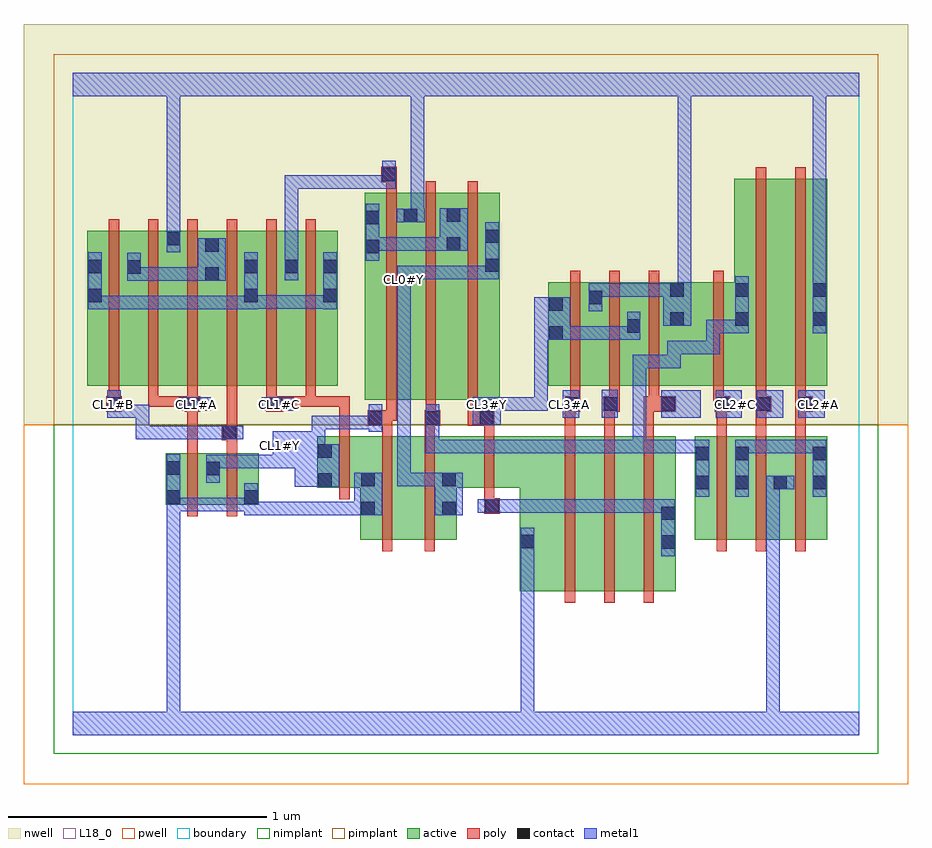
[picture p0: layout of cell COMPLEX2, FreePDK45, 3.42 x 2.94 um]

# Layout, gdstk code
import gdstk
lib = gdstk.Library(unit=1e-6, precision=1e-09)
def R(c, l, rs):  # rectangles x0, y0, x1, y1
    for r in rs: c.add(gdstk.rectangle(r[:2], r[2:], *l))
def A(c, l, x, y, w, h, nx, ny, dx, dy):  # array of equal rectangles
    R(c, l, [(x+i*dx, y+j*dy, x+i*dx+w, y+j*dy+h) for i in range(nx) for j in range(ny)])
active = (1, 0)
pwell = (2, 0)
nwell = (3, 0)
nimplant = (4, 0)
pimplant = (5, 0)
poly = (9, 0)
contact = (10, 0)
metal1 = (11, 0)
L18_0 = (18, 0)
boundary = (235, 0)

complex2 = lib.new_cell('COMPLEX2')
R(complex2, active, [(1.728,0.556,1.788,0.956), (1.728,0.556,1.998,1.156), (1.998,0.556,2.15,1.156), (2.15,0.556,2.33,1.156), (2.27,0.556,2.33,1.156), (1.112,0.756,1.172,1.156), (1.112,0.756,1.304,1.156), (1.304,0.756,1.484,1.156), (1.424,0.756,1.484,1.156), (2.404,0.756,2.464,1.156), (2.404,0.756,2.616,1.156), (2.556,0.756,2.616,1.156), (2.556,0.756,2.764,1.156), (2.704,0.756,2.916,1.156), (2.704,0.756,2.764,1.006), (2.856,0.756,2.916,1.156), (0.36,0.89,0.42,1.09), (0.36,0.89,0.572,1.09), (0.512,0.89,0.72,1.09), (0.66,0.89,0.72,1.09), (0.512,0.892,0.572,1.09), (0.946,0.956,1.172,1.156), (0.946,0.956,1.006,1.156), (1.424,0.956,1.788,1.156), (1.128,1.296,1.188,2.096), (1.128,1.296,1.336,2.096), (1.276,1.296,1.336,2.096), (1.276,1.296,1.502,2.096), (1.442,1.296,1.502,2.096), (1.442,1.296,1.65,2.096), (1.59,1.296,1.65,2.044), (0.056,1.35,0.116,1.95), (0.056,1.35,0.268,1.95), (0.208,1.35,0.268,1.95), (0.208,1.35,0.42,1.95), (0.36,1.35,0.568,1.95), (0.508,1.35,0.72,1.95), (0.66,1.35,0.72,1.95), (0.66,1.35,0.876,1.95), (0.816,1.35,1.024,1.95), (0.964,1.35,1.024,1.878), (1.838,1.35,1.898,1.75), (1.838,1.35,2.05,1.75), (1.99,1.35,2.198,1.75), (2.138,1.35,2.366,1.75), (2.306,1.35,2.616,1.75), (2.556,1.35,2.736,2.15), (2.556,1.35,2.616,2.15), (2.736,1.35,2.916,2.15), (2.856,1.35,2.916,2.044), (0.508,1.47,0.568,1.95), (2.138,1.498,2.198,1.75), (2.306,1.498,2.366,1.75), (0.816,1.522,0.876,1.878), (1.99,1.572,2.05,1.722), (0.36,1.58,0.42,1.95)])
R(complex2, pwell, [(-0.188,-0.188,3.228,1.2)])
R(complex2, nwell, [(-0.188,1.2,3.228,2.748)])
R(complex2, nimplant, [(-0.072,-0.072,3.112,1.2)])
R(complex2, pimplant, [(-0.072,1.2,3.112,2.632)])
A(complex2, poly, 1.902, 0.512, 0.04, 0.688, 3, 1, 0.152, 0)
A(complex2, poly, 2.488, 0.712, 0.04, 0.488, 3, 1, 0.152, 0)
A(complex2, poly, 1.902, 1.16, 0.04, 0.13, 3, 1, 0.152, 0)
A(complex2, poly, 2.488, 1.16, 0.04, 0.13, 3, 1, 0.152, 0)
A(complex2, poly, 0.14, 1.27, 0.04, 0.076, 3, 1, 0.152, 0)
A(complex2, poly, 1.922, 1.27, 0.04, 0.076, 3, 1, 0.152, 0)
A(complex2, poly, 0.14, 1.306, 0.04, 0.688, 6, 1, 0.152, 0)
A(complex2, poly, 1.922, 1.306, 0.04, 0.488, 3, 1, 0.152, 0)
R(complex2, poly, [(1.196,0.712,1.236,1.2), (1.36,0.712,1.4,1.2), (0.444,0.846,0.484,1.134), (0.596,0.846,0.636,1.134), (1.59,0.856,1.65,0.916), (1.59,0.876,1.63,0.952), (1.03,0.912,1.07,1.2), (1.59,0.912,1.63,1.2), (0.444,1.094,0.484,1.29), (0.596,1.094,0.636,1.18), (0.576,1.14,0.636,1.2), (0.596,1.16,0.636,1.2), (0.596,1.16,0.636,1.2), (0.596,1.16,0.636,1.346), (1.03,1.16,1.07,1.31), (1.196,1.16,1.236,1.236), (1.36,1.16,1.4,1.236), (1.59,1.16,1.63,1.236), (1.14,1.196,1.236,1.256), (1.36,1.196,1.42,1.256), (1.526,1.196,1.63,1.256), (1.59,1.196,1.63,1.236), (1.59,1.196,1.63,1.236), (1.196,1.216,1.236,1.256), (1.196,1.216,1.252,1.256), (1.212,1.216,1.252,1.292), (1.364,1.216,1.404,1.292), (1.364,1.216,1.404,1.256), (1.364,1.216,1.404,1.256), (1.526,1.216,1.566,1.292), (0.13,1.25,0.19,1.31), (0.434,1.25,0.494,1.31), (0.444,1.25,0.484,1.29), (0.444,1.25,0.484,1.29), (0.748,1.25,0.814,1.31), (1.902,1.25,1.942,1.29), (1.902,1.25,1.942,1.29), (1.902,1.25,1.962,1.31), (2.05,1.25,2.114,1.31), (2.054,1.25,2.094,1.29), (2.054,1.25,2.094,1.29), (2.206,1.25,2.33,1.31), (2.48,1.25,2.54,1.31), (2.64,1.25,2.68,1.29), (2.64,1.25,2.68,1.29), (2.64,1.25,2.7,1.31), (2.792,1.25,2.832,1.29), (2.792,1.25,2.832,1.29), (2.792,1.25,2.86,1.31), (1.212,1.252,1.252,2.14), (1.364,1.252,1.404,2.14), (1.526,1.252,1.566,2.14), (0.14,1.27,0.18,1.31), (0.14,1.27,0.18,1.31), (0.292,1.27,0.332,1.31), (0.292,1.27,0.332,1.31), (0.292,1.27,0.332,1.31), (0.292,1.27,0.474,1.31), (0.748,1.27,0.788,1.346), (0.774,1.27,0.94,1.31), (0.9,1.27,0.94,1.346), (0.9,1.27,0.94,1.31), (0.9,1.27,0.94,1.31), (0.9,1.27,0.94,1.31), (0.9,1.27,0.94,1.31), (0.9,1.27,1.07,1.31), (2.226,1.27,2.266,1.31), (2.226,1.27,2.266,1.31), (2.476,1.27,2.516,1.346), (2.476,1.27,2.52,1.31), (2.48,1.27,2.52,1.31), (2.64,1.27,2.68,1.346), (2.792,1.27,2.832,1.346), (2.476,1.306,2.516,1.794), (2.64,1.306,2.68,2.194), (2.792,1.306,2.832,2.194), (1.212,2.1,1.252,2.176), (1.192,2.136,1.252,2.196)])
A(complex2, contact, 2.484, 1.254, 0.052, 0.052, 3, 1, 0.16, 0)
R(complex2, contact, [(2.274,0.72,2.326,0.772), (1.732,0.722,1.784,0.774), (2.274,0.832,2.326,0.884), (1.116,0.85,1.168,0.902), (1.428,0.85,1.48,0.902), (1.594,0.86,1.646,0.912), (0.364,0.894,0.416,0.946), (0.664,0.894,0.716,0.946), (2.408,0.95,2.46,1.002), (2.56,0.95,2.612,1.002), (2.708,0.95,2.76,1.002), (2.86,0.95,2.912,1.002), (0.95,0.96,1.002,1.012), (1.116,0.962,1.168,1.014), (1.428,0.962,1.48,1.014), (0.516,1.004,0.568,1.056), (0.364,1.006,0.416,1.058), (2.408,1.062,2.46,1.114), (2.56,1.062,2.612,1.114), (2.86,1.062,2.912,1.114), (0.95,1.072,1.002,1.124), (0.58,1.144,0.632,1.196), (1.144,1.2,1.196,1.252), (1.364,1.2,1.416,1.252), (1.574,1.2,1.626,1.252), (0.134,1.254,0.186,1.306), (0.438,1.254,0.49,1.306), (0.758,1.254,0.81,1.306), (1.906,1.254,1.958,1.306), (2.054,1.254,2.106,1.306), (2.274,1.254,2.326,1.306), (1.842,1.528,1.894,1.58), (2.142,1.556,2.194,1.608), (2.31,1.582,2.362,1.634), (2.56,1.582,2.612,1.634), (2.86,1.582,2.912,1.634), (1.842,1.64,1.894,1.692), (1.994,1.666,2.046,1.718), (0.06,1.674,0.112,1.726), (0.664,1.674,0.716,1.726), (0.968,1.674,1.02,1.726), (2.31,1.694,2.362,1.746), (2.56,1.694,2.612,1.746), (2.86,1.694,2.912,1.746), (0.512,1.756,0.564,1.808), (0.212,1.784,0.264,1.836), (0.06,1.786,0.112,1.838), (0.664,1.786,0.716,1.838), (0.82,1.786,0.872,1.838), (0.968,1.786,1.02,1.838), (1.594,1.79,1.646,1.842), (1.132,1.862,1.184,1.914), (0.512,1.868,0.564,1.92), (1.446,1.872,1.498,1.924), (0.364,1.894,0.416,1.946), (1.594,1.902,1.646,1.954), (1.132,1.974,1.184,2.026), (1.28,1.982,1.332,2.034), (1.446,1.984,1.498,2.036), (1.196,2.14,1.248,2.192)])
A(complex2, metal1, 2.484, 1.226, 0.102, 0.108, 3, 1, 0.16, 0)
R(complex2, metal1, [(0,0,3.04,0.092), (0.364,0.04,0.416,0.092), (0.364,0.04,0.416,0.092), (0.364,0.04,0.416,0.092), (0.364,0.04,0.416,0.092), (0.364,0.04,0.416,0.092), (0.364,0.04,0.416,0.092), (0.364,0.04,0.416,0.092), (0.364,0.04,0.416,0.092), (0.364,0.04,0.416,0.092), (0.364,0.04,0.416,0.092), (0.364,0.04,0.416,0.092), (0.364,0.04,0.416,0.092), (0.364,0.04,0.416,0.092), (0.364,0.04,0.416,0.092), (0.364,0.04,0.416,0.918), (1.732,0.04,1.784,0.092), (1.732,0.04,1.784,0.092), (1.732,0.04,1.784,0.746), (2.68,0.04,2.732,0.092), (2.68,0.04,2.732,0.092), (2.68,0.04,2.732,0.092), (2.68,0.04,2.732,0.092), (2.68,0.04,2.732,0.092), (2.68,0.04,2.732,0.092), (2.68,0.04,2.732,0.092), (2.68,0.04,2.732,0.092), (2.68,0.04,2.732,1.002), (2.274,0.692,2.326,0.912), (1.732,0.694,1.784,0.746), (1.732,0.694,1.784,0.746), (1.732,0.694,1.784,0.746), (1.732,0.694,1.784,0.746), (1.732,0.694,1.784,0.746), (1.732,0.694,1.784,0.746), (1.732,0.694,1.784,0.802), (0.664,0.85,0.91,0.902), (0.664,0.85,0.716,0.918), (0.858,0.85,0.91,0.902), (0.858,0.85,0.91,0.902), (0.858,0.85,0.91,0.902), (0.858,0.85,1.14,0.902), (1.088,0.85,1.196,1.014), (1.4,0.85,1.508,1.014), (1.566,0.86,1.674,0.912), (1.622,0.86,1.674,0.912), (1.622,0.86,1.674,0.912), (1.622,0.86,1.936,0.912), (1.884,0.86,1.936,0.912), (1.884,0.86,1.936,0.912), (1.884,0.86,1.936,0.912), (1.884,0.86,2.084,0.912), (2.032,0.86,2.084,0.912), (2.032,0.86,2.194,0.912), (2.142,0.86,2.194,0.912), (2.142,0.86,2.194,0.912), (2.142,0.86,2.194,0.912), (2.142,0.86,2.326,0.912), (2.274,0.86,2.326,0.912), (2.274,0.86,2.326,0.912), (0.364,0.866,0.416,0.918), (0.364,0.866,0.416,0.918), (0.364,0.866,0.416,0.918), (0.364,0.866,0.416,0.918), (0.364,0.866,0.416,1.086), (0.364,0.866,0.606,0.918), (0.554,0.866,0.606,0.918), (0.554,0.866,0.606,0.918), (0.554,0.866,0.606,0.918), (0.554,0.866,0.716,0.918), (0.664,0.866,0.716,0.918), (0.664,0.866,0.716,0.974), (2.408,0.922,2.46,1.142), (2.56,0.922,2.612,1.142), (2.86,0.922,2.912,1.142), (2.68,0.95,2.732,1.002), (2.68,0.95,2.732,1.002), (2.68,0.95,2.732,1.002), (2.68,0.95,2.732,1.002), (2.68,0.95,2.788,1.002), (0.858,0.96,1.03,1.124), (1.254,0.962,1.306,1.014), (1.254,0.962,1.452,1.014), (1.254,0.962,1.306,1.758), (1.4,0.962,1.452,1.014), (1.4,0.962,1.452,1.014), (0.516,0.976,0.568,1.084), (0.516,1.032,0.568,1.084), (0.516,1.032,0.568,1.084), (0.516,1.032,0.716,1.084), (0.664,1.032,0.716,1.084), (0.664,1.032,0.716,1.084), (0.664,1.032,0.716,1.084), (0.664,1.032,0.91,1.084), (0.774,1.066,0.91,1.174), (0.858,1.066,0.91,1.118), (1.364,1.09,1.416,1.224), (1.364,1.09,1.598,1.142), (1.546,1.09,1.598,1.142), (1.546,1.09,1.598,1.142), (1.546,1.09,1.598,1.142), (1.546,1.09,1.936,1.142), (1.884,1.09,1.936,1.142), (1.884,1.09,1.936,1.142), (1.884,1.09,1.936,1.142), (1.884,1.09,2.084,1.142), (2.032,1.09,2.084,1.142), (2.032,1.09,2.216,1.142), (2.164,1.09,2.216,1.142), (2.164,1.09,2.216,1.142), (2.164,1.09,2.216,1.142), (2.164,1.09,2.216,1.142), (2.164,1.09,2.216,1.142), (2.164,1.09,2.35,1.142), (2.164,1.09,2.216,1.47), (2.298,1.09,2.35,1.142), (2.298,1.09,2.35,1.142), (2.298,1.09,2.35,1.142), (2.298,1.09,2.46,1.142), (2.56,1.09,2.612,1.142), (2.56,1.09,2.612,1.142), (2.56,1.09,2.802,1.142), (2.75,1.09,2.802,1.142), (2.75,1.09,2.912,1.142), (2.86,1.09,2.912,1.142), (2.86,1.09,2.912,1.142), (0.858,1.122,0.976,1.174), (0.924,1.122,0.976,1.234), (0.244,1.144,0.296,1.278), (0.244,1.144,0.416,1.196), (0.364,1.144,0.416,1.196), (0.364,1.144,0.416,1.196), (0.364,1.144,0.416,1.196), (0.364,1.144,0.604,1.196), (0.552,1.144,0.604,1.196), (0.552,1.144,0.604,1.196), (0.552,1.144,0.66,1.196), (1.144,1.172,1.196,1.28), (1.364,1.172,1.416,1.224), (1.364,1.172,1.416,1.28), (0.924,1.182,1.086,1.234), (1.034,1.182,1.086,1.234), (1.034,1.182,1.086,1.234), (1.034,1.182,1.086,1.234), (1.034,1.182,1.196,1.234), (1.546,1.2,1.654,1.306), (0.134,1.226,0.296,1.278), (0.134,1.226,0.186,1.334), (0.244,1.226,0.296,1.278), (0.244,1.226,0.296,1.278), (1.894,1.226,1.958,1.334), (2.044,1.226,2.106,1.336), (2.274,1.226,2.426,1.334), (0.41,1.254,0.534,1.306), (0.73,1.254,0.854,1.306), (1.602,1.254,1.812,1.306), (1.76,1.254,1.812,1.306), (1.76,1.254,1.836,1.306), (1.784,1.254,1.836,1.306), (1.784,1.254,1.836,1.58), (2.164,1.418,2.216,1.47), (2.164,1.418,2.35,1.47), (2.298,1.418,2.35,1.47), (2.298,1.418,2.35,1.47), (2.298,1.418,2.35,1.47), (2.298,1.418,2.35,1.524), (2.298,1.472,2.35,1.524), (2.298,1.472,2.5,1.524), (2.448,1.472,2.5,1.524), (2.448,1.472,2.5,1.524), (2.448,1.472,2.5,1.606), (1.784,1.528,1.922,1.692), (1.87,1.528,1.922,1.58), (1.87,1.528,1.922,1.58), (1.87,1.528,2.084,1.58), (2.032,1.528,2.084,1.58), (2.032,1.528,2.084,1.58), (2.032,1.528,2.084,1.58), (2.032,1.528,2.194,1.58), (2.142,1.528,2.194,1.636), (2.448,1.554,2.612,1.606), (2.56,1.554,2.612,1.774), (2.86,1.554,2.912,1.774), (2.282,1.582,2.39,1.746), (1.994,1.638,2.046,1.746), (0.06,1.646,0.112,1.698), (0.06,1.646,0.112,1.698), (0.06,1.646,0.112,1.866), (0.06,1.646,0.296,1.698), (0.244,1.646,0.296,1.698), (0.244,1.646,0.296,1.698), (0.244,1.646,0.296,1.698), (0.244,1.646,0.426,1.698), (0.374,1.646,0.426,1.698), (0.374,1.646,0.426,1.698), (0.374,1.646,0.426,1.698), (0.374,1.646,0.606,1.698), (0.554,1.646,0.606,1.698), (0.554,1.646,0.606,1.698), (0.554,1.646,0.606,1.698), (0.554,1.646,0.716,1.698), (0.664,1.646,0.716,1.866), (0.968,1.646,1.02,1.866), (0.664,1.648,0.716,1.7), (0.664,1.648,0.716,1.7), (0.664,1.648,0.826,1.7), (0.774,1.648,0.826,1.7), (0.774,1.648,0.826,1.7), (0.774,1.648,0.826,1.7), (0.774,1.648,1.02,1.7), (1.994,1.694,2.046,1.746), (1.994,1.694,2.046,1.746), (1.994,1.694,2.194,1.746), (2.142,1.694,2.194,1.746), (2.142,1.694,2.334,1.746), (2.282,1.694,2.334,1.746), (2.282,1.694,2.334,1.746), (2.338,1.694,2.39,1.746), (2.338,1.694,2.39,1.746), (2.338,1.694,2.39,1.746), (2.338,1.694,2.39,1.746), (2.338,1.694,2.39,1.746), (2.338,1.694,2.39,1.746), (2.338,1.694,2.39,2.52), (1.254,1.706,1.306,1.814), (2.86,1.722,2.912,1.774), (2.86,1.722,2.912,1.774), (2.86,1.722,2.912,1.774), (2.86,1.722,2.912,1.774), (2.86,1.722,2.912,2.52), (0.212,1.756,0.264,1.864), (0.212,1.756,0.306,1.808), (0.254,1.756,0.306,1.808), (0.254,1.756,0.426,1.808), (0.374,1.756,0.426,1.808), (0.374,1.756,0.426,1.808), (0.374,1.756,0.426,1.808), (0.374,1.756,0.536,1.808), (0.484,1.756,0.592,1.92), (0.82,1.758,0.872,1.866), (1.254,1.762,1.306,1.814), (1.254,1.762,1.306,1.814), (1.254,1.762,1.488,1.814), (1.436,1.762,1.488,1.814), (1.436,1.762,1.488,1.814), (1.436,1.762,1.488,1.814), (1.436,1.762,1.488,1.814), (1.436,1.762,1.488,1.814), (1.436,1.762,1.646,1.814), (1.594,1.762,1.646,1.814), (1.594,1.762,1.646,1.814), (1.594,1.762,1.646,1.982), (0.82,1.814,0.872,2.164), (1.132,1.834,1.184,2.054), (0.364,1.866,0.416,1.974), (1.132,1.872,1.196,1.924), (1.144,1.872,1.196,1.924), (1.144,1.872,1.306,1.924), (1.254,1.872,1.306,1.924), (1.254,1.872,1.306,1.924), (1.254,1.872,1.306,1.924), (1.254,1.872,1.47,1.924), (1.418,1.872,1.47,1.924), (1.418,1.872,1.47,1.924), (1.418,1.872,1.526,2.036), (0.364,1.922,0.416,2.52), (1.252,1.982,1.36,2.034), (1.306,1.982,1.358,2.034), (1.306,1.982,1.358,2.034), (1.306,1.982,1.358,2.52), (0.82,2.112,0.872,2.164), (0.82,2.112,0.872,2.164), (0.82,2.112,0.872,2.164), (0.82,2.112,1.086,2.164), (1.034,2.112,1.086,2.164), (1.034,2.112,1.086,2.164), (1.034,2.112,1.086,2.164), (1.034,2.112,1.086,2.164), (1.034,2.112,1.086,2.164), (1.034,2.112,1.086,2.164), (1.034,2.112,1.086,2.164), (1.034,2.112,1.248,2.164), (1.196,2.112,1.248,2.22), (0,2.468,3.04,2.56), (0.364,2.468,0.416,2.52), (0.364,2.468,0.416,2.52), (0.364,2.468,0.416,2.52), (0.364,2.468,0.416,2.52), (0.364,2.468,0.416,2.52), (0.364,2.468,0.416,2.52), (0.364,2.468,0.416,2.52), (0.364,2.468,0.416,2.52), (0.364,2.468,0.416,2.52), (0.364,2.468,0.416,2.52), (0.364,2.468,0.416,2.52), (0.364,2.468,0.416,2.52), (1.306,2.468,1.358,2.52), (1.306,2.468,1.358,2.52), (1.306,2.468,1.358,2.52), (1.306,2.468,1.358,2.52), (1.306,2.468,1.358,2.52), (1.306,2.468,1.358,2.52), (2.338,2.468,2.39,2.52), (2.338,2.468,2.39,2.52), (2.338,2.468,2.39,2.52), (2.338,2.468,2.39,2.52), (2.338,2.468,2.39,2.52), (2.338,2.468,2.39,2.52), (2.338,2.468,2.39,2.52), (2.338,2.468,2.39,2.52), (2.338,2.468,2.39,2.52), (2.338,2.468,2.39,2.52), (2.86,2.468,2.912,2.52), (2.86,2.468,2.912,2.52), (2.86,2.468,2.912,2.52), (2.86,2.468,2.912,2.52)])
A(complex2, L18_0, 2.484, 1.226, 0.102, 0.108, 3, 1, 0.16, 0)
A(complex2, L18_0, 0.134, 1.254, 0.052, 0.052, 3, 1, 0.32, 0)
A(complex2, L18_0, 2.374, 1.254, 0.052, 0.052, 4, 1, 0.16, 0)
R(complex2, L18_0, [(0,0,3.04,0.092), (0.364,0.04,0.416,0.092), (0.364,0.04,0.416,0.092), (0.364,0.04,0.416,0.092), (0.364,0.04,0.416,0.092), (0.364,0.04,0.416,0.092), (0.364,0.04,0.416,0.092), (0.364,0.04,0.416,0.092), (0.364,0.04,0.416,0.092), (0.364,0.04,0.416,0.092), (0.364,0.04,0.416,0.092), (0.364,0.04,0.416,0.092), (0.364,0.04,0.416,0.092), (0.364,0.04,0.416,0.092), (0.364,0.04,0.416,0.092), (0.364,0.04,0.416,0.918), (1.732,0.04,1.784,0.092), (1.732,0.04,1.784,0.092), (1.732,0.04,1.784,0.746), (2.68,0.04,2.732,0.092), (2.68,0.04,2.732,0.092), (2.68,0.04,2.732,0.092), (2.68,0.04,2.732,0.092), (2.68,0.04,2.732,0.092), (2.68,0.04,2.732,0.092), (2.68,0.04,2.732,0.092), (2.68,0.04,2.732,0.092), (2.68,0.04,2.732,1.002), (2.274,0.692,2.326,0.912), (1.732,0.694,1.784,0.802), (1.732,0.694,1.784,0.746), (1.732,0.694,1.784,0.746), (1.732,0.694,1.784,0.746), (1.732,0.694,1.784,0.746), (1.732,0.694,1.784,0.746), (1.732,0.694,1.784,0.746), (0.664,0.85,0.716,0.918), (0.664,0.85,0.91,0.902), (0.858,0.85,0.91,0.902), (0.858,0.85,0.91,0.902), (0.858,0.85,0.91,0.902), (0.858,0.85,1.14,0.902), (1.088,0.85,1.196,1.014), (1.4,0.85,1.508,1.014), (1.566,0.86,1.674,0.912), (1.622,0.86,1.674,0.912), (1.622,0.86,1.674,0.912), (1.622,0.86,1.936,0.912), (1.884,0.86,1.936,0.912), (1.884,0.86,1.936,0.912), (1.884,0.86,1.936,0.912), (1.884,0.86,2.084,0.912), (2.032,0.86,2.084,0.912), (2.032,0.86,2.194,0.912), (2.142,0.86,2.194,0.912), (2.142,0.86,2.194,0.912), (2.142,0.86,2.194,0.912), (2.142,0.86,2.326,0.912), (2.274,0.86,2.326,0.912), (2.274,0.86,2.326,0.912), (0.364,0.866,0.416,0.918), (0.364,0.866,0.416,0.918), (0.364,0.866,0.416,0.918), (0.364,0.866,0.416,0.918), (0.364,0.866,0.416,1.086), (0.364,0.866,0.606,0.918), (0.554,0.866,0.606,0.918), (0.554,0.866,0.606,0.918), (0.554,0.866,0.606,0.918), (0.554,0.866,0.716,0.918), (0.664,0.866,0.716,0.974), (0.664,0.866,0.716,0.918), (2.68,0.95,2.732,1.002), (2.68,0.95,2.732,1.002), (2.68,0.95,2.732,1.002), (2.68,0.95,2.732,1.002), (2.68,0.95,2.788,1.002), (0.858,0.96,1.03,1.124), (1.254,0.962,1.306,1.014), (1.254,0.962,1.306,1.758), (1.254,0.962,1.452,1.014), (1.4,0.962,1.452,1.014), (1.4,0.962,1.452,1.014), (0.516,0.976,0.568,1.084), (0.516,1.032,0.568,1.084), (0.516,1.032,0.568,1.084), (0.516,1.032,0.716,1.084), (0.664,1.032,0.716,1.084), (0.664,1.032,0.716,1.084), (0.664,1.032,0.716,1.084), (0.664,1.032,0.91,1.084), (0.774,1.066,0.91,1.174), (0.858,1.066,0.91,1.118), (0.774,1.094,0.826,1.146), (0.858,1.122,0.976,1.174), (0.924,1.122,0.976,1.234), (0.244,1.144,0.296,1.278), (0.244,1.144,0.416,1.196), (0.364,1.144,0.416,1.196), (0.364,1.144,0.416,1.196), (0.364,1.144,0.416,1.196), (0.364,1.144,0.604,1.196), (0.552,1.144,0.604,1.196), (0.552,1.144,0.604,1.196), (0.552,1.144,0.66,1.196), (1.144,1.172,1.196,1.28), (0.924,1.182,1.086,1.234), (1.034,1.182,1.086,1.234), (1.034,1.182,1.086,1.234), (1.034,1.182,1.086,1.234), (1.034,1.182,1.196,1.234), (1.546,1.2,1.654,1.306), (0.134,1.226,0.186,1.334), (0.134,1.226,0.296,1.278), (0.244,1.226,0.296,1.278), (0.244,1.226,0.296,1.278), (1.894,1.226,1.958,1.334), (2.044,1.226,2.106,1.336), (2.274,1.226,2.426,1.334), (0.41,1.254,0.534,1.306), (0.73,1.254,0.854,1.306), (1.574,1.254,1.626,1.306), (1.602,1.254,1.812,1.306), (1.76,1.254,1.812,1.306), (1.76,1.254,1.836,1.306), (1.784,1.254,1.836,1.306), (1.784,1.254,1.836,1.58), (1.894,1.254,1.946,1.306), (2.054,1.254,2.106,1.306), (1.784,1.528,1.922,1.692), (1.87,1.528,1.922,1.58), (1.87,1.528,1.922,1.58), (1.87,1.528,2.084,1.58), (2.032,1.528,2.084,1.58), (2.032,1.528,2.084,1.58), (2.032,1.528,2.084,1.58), (2.032,1.528,2.194,1.58), (2.142,1.528,2.194,1.636), (2.86,1.554,2.912,1.774), (2.282,1.582,2.39,1.746), (1.994,1.638,2.046,1.746), (1.994,1.694,2.046,1.746), (1.994,1.694,2.046,1.746), (1.994,1.694,2.194,1.746), (2.142,1.694,2.194,1.746), (2.142,1.694,2.334,1.746), (2.282,1.694,2.334,1.746), (2.282,1.694,2.334,1.746), (2.338,1.694,2.39,1.746), (2.338,1.694,2.39,1.746), (2.338,1.694,2.39,1.746), (2.338,1.694,2.39,1.746), (2.338,1.694,2.39,1.746), (2.338,1.694,2.39,1.746), (2.338,1.694,2.39,2.52), (1.254,1.706,1.306,1.814), (2.86,1.722,2.912,1.774), (2.86,1.722,2.912,1.774), (2.86,1.722,2.912,1.774), (2.86,1.722,2.912,1.774), (2.86,1.722,2.912,2.52), (1.254,1.734,1.306,1.786), (0.82,1.758,0.872,1.866), (1.254,1.762,1.306,1.814), (1.254,1.762,1.306,1.814), (1.254,1.762,1.488,1.814), (1.436,1.762,1.488,1.814), (1.436,1.762,1.488,1.814), (1.436,1.762,1.488,1.814), (1.436,1.762,1.488,1.814), (1.436,1.762,1.488,1.814), (1.436,1.762,1.646,1.814), (1.594,1.762,1.646,1.814), (1.594,1.762,1.646,1.814), (1.594,1.762,1.646,1.982), (0.82,1.814,0.872,2.164), (0.364,1.866,0.416,1.974), (0.364,1.922,0.416,2.52), (1.252,1.982,1.36,2.034), (1.306,1.982,1.358,2.034), (1.306,1.982,1.358,2.034), (1.306,1.982,1.358,2.52), (0.82,2.112,0.872,2.164), (0.82,2.112,0.872,2.164), (0.82,2.112,0.872,2.164), (0.82,2.112,1.086,2.164), (1.034,2.112,1.086,2.164), (1.034,2.112,1.086,2.164), (1.034,2.112,1.086,2.164), (1.034,2.112,1.086,2.164), (1.034,2.112,1.086,2.164), (1.034,2.112,1.086,2.164), (1.034,2.112,1.086,2.164), (1.034,2.112,1.248,2.164), (1.196,2.112,1.248,2.22), (0,2.468,3.04,2.56), (0.364,2.468,0.416,2.52), (0.364,2.468,0.416,2.52), (0.364,2.468,0.416,2.52), (0.364,2.468,0.416,2.52), (0.364,2.468,0.416,2.52), (0.364,2.468,0.416,2.52), (0.364,2.468,0.416,2.52), (0.364,2.468,0.416,2.52), (0.364,2.468,0.416,2.52), (0.364,2.468,0.416,2.52), (0.364,2.468,0.416,2.52), (0.364,2.468,0.416,2.52), (1.306,2.468,1.358,2.52), (1.306,2.468,1.358,2.52), (1.306,2.468,1.358,2.52), (1.306,2.468,1.358,2.52), (1.306,2.468,1.358,2.52), (1.306,2.468,1.358,2.52), (2.338,2.468,2.39,2.52), (2.338,2.468,2.39,2.52), (2.338,2.468,2.39,2.52), (2.338,2.468,2.39,2.52), (2.338,2.468,2.39,2.52), (2.338,2.468,2.39,2.52), (2.338,2.468,2.39,2.52), (2.338,2.468,2.39,2.52), (2.338,2.468,2.39,2.52), (2.338,2.468,2.39,2.52), (2.86,2.468,2.912,2.52), (2.86,2.468,2.912,2.52), (2.86,2.468,2.912,2.52), (2.86,2.468,2.912,2.52)])
R(complex2, boundary, [(0,0,3.04,2.56)])
complex2.add(gdstk.Label('CL0#Y', (1.28,1.76), layer=11, texttype=0))
complex2.add(gdstk.Label('CL1#A', (0.48,1.28), layer=11, texttype=0))
complex2.add(gdstk.Label('CL1#B', (0.16,1.28), layer=11, texttype=0))
complex2.add(gdstk.Label('CL1#C', (0.8,1.28), layer=11, texttype=0))
complex2.add(gdstk.Label('CL1#Y', (0.8,1.12), layer=11, texttype=0))
complex2.add(gdstk.Label('CL2#A', (2.88,1.28), layer=11, texttype=0))
complex2.add(gdstk.Label('CL2#B', (2.72,1.28), layer=11, texttype=0))
complex2.add(gdstk.Label('CL2#C', (2.56,1.28), layer=11, texttype=0))
complex2.add(gdstk.Label('CL3#A', (1.92,1.28), layer=11, texttype=0))
complex2.add(gdstk.Label('CL3#B', (2.08,1.28), layer=11, texttype=0))
complex2.add(gdstk.Label('CL3#C', (2.4,1.28), layer=11, texttype=0))
complex2.add(gdstk.Label('CL3#Y', (1.6,1.28), layer=11, texttype=0))

lib.write_gds('COMPLEX2.gds')
